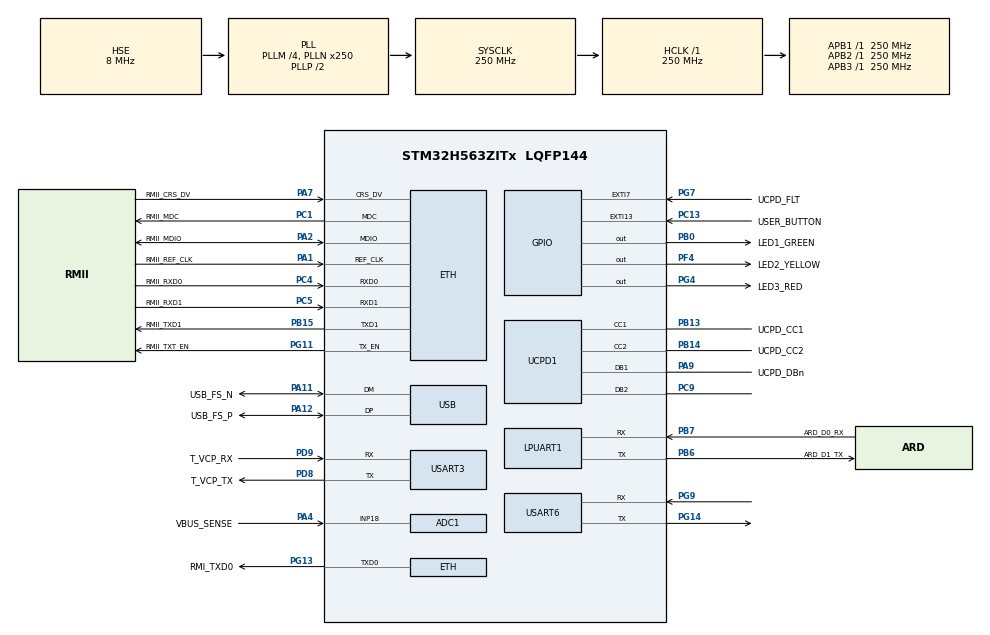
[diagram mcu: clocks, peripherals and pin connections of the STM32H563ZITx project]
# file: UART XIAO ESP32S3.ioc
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ADC1.Channel-0\#ChannelRegularConversion=ADC_CHANNEL_18
ADC1.MonitoredBy-0\#ChannelRegularConversion=__NULL
ADC1.NbrOfConversionFlag=1
ADC1.OffsetNumber-0\#ChannelRegularConversion=ADC_OFFSET_NONE
ADC1.Rank-0\#ChannelRegularConversion=1
ADC1.SamplingTime-0\#ChannelRegularConversion=ADC_SAMPLETIME_2CYCLES_5
ADC1.master=1
CORTEX_M33_NS.userName=CORTEX_M33
ETH.MediaInterface=HAL_ETH_RMII_MODE
Mcu.Family=STM32H5
Mcu.Name=STM32H563ZITx
Mcu.Package=LQFP144
NVIC.PriorityGroup=NVIC_PRIORITYGROUP_4
PA1.GPIO_Label=RMII_REF_CLK
PA1.GPIO_Mode=GPIO_MODE_AF_PP
PA1.GPIO_PuPd=GPIO_NOPULL
PA1.GPIO_Speed=GPIO_SPEED_FREQ_LOW
PA1.Mode=RMII
PA1.Signal=ETH_REF_CLK
PA11.GPIO_Label=USB_FS_N
PA11.Mode=Device
PA11.Signal=USB_DM
PA12.GPIO_Label=USB_FS_P
PA12.Mode=Device
PA12.Signal=USB_DP
PA13(JTMS/SWDIO).GPIO_Label=SWDIO
PA13(JTMS/SWDIO).Mode=Trace_Synchro_4bits_JTAG
PA13(JTMS/SWDIO).Signal=DEBUG_JTMS-SWDIO
PA14(JTCK/SWCLK).GPIO_Label=SWCLK
PA14(JTCK/SWCLK).Mode=Trace_Synchro_4bits_JTAG
PA14(JTCK/SWCLK).Signal=DEBUG_JTCK-SWCLK
PA15(JTDI).GPIO_Label=T_JTDI
PA15(JTDI).Mode=Trace_Synchro_4bits_JTAG
PA15(JTDI).Signal=DEBUG_JTDI
PA2.GPIO_Label=RMII_MDIO
PA2.GPIO_Mode=GPIO_MODE_AF_PP
PA2.GPIO_PuPd=GPIO_NOPULL
PA2.GPIO_Speed=GPIO_SPEED_FREQ_LOW
PA2.Mode=RMII
PA2.Signal=ETH_MDIO
PA4.GPIO_Label=VBUS_SENSE
PA4.Signal=ADCx_INP18
PA7.GPIO_Label=RMII_CRS_DV
PA7.GPIO_Mode=GPIO_MODE_AF_PP
PA7.GPIO_PuPd=GPIO_NOPULL
PA7.GPIO_Speed=GPIO_SPEED_FREQ_LOW
PA7.Mode=RMII
PA7.Signal=ETH_CRS_DV
PA9.GPIO_Label=UCPD_DBn
PA9.Mode=EnableDeadBattery
PA9.Signal=UCPD1_DB1
PB0.GPIO_Label=LED1_GREEN
PB0.Signal=GPIO_Output
PB13.GPIO_Label=UCPD_CC1
PB13.Mode=Source_AllSignals
PB13.Signal=UCPD1_CC1
PB14.GPIO_Label=UCPD_CC2
PB14.Mode=Source_AllSignals
PB14.Signal=UCPD1_CC2
PB15.GPIO_Label=RMII_TXD1
PB15.GPIO_Mode=GPIO_MODE_AF_PP
PB15.GPIO_PuPd=GPIO_NOPULL
PB15.GPIO_Speed=GPIO_SPEED_FREQ_LOW
PB15.Mode=RMII
PB15.Signal=ETH_TXD1
PB3(JTDO/TRACESWO).GPIO_Label=SWO
PB3(JTDO/TRACESWO).Mode=Trace_Synchro_4bits_JTAG
PB3(JTDO/TRACESWO).Signal=DEBUG_JTDO-SWO
PB6.GPIO_Label=ARD_D1_TX
PB6.Mode=Asynchronous
PB6.Signal=LPUART1_TX
PB7.GPIO_Label=ARD_D0_RX
PB7.Mode=Asynchronous
PB7.Signal=LPUART1_RX
PC1.GPIO_Label=RMII_MDC
PC1.GPIO_Mode=GPIO_MODE_AF_PP
PC1.GPIO_PuPd=GPIO_NOPULL
PC1.GPIO_Speed=GPIO_SPEED_FREQ_LOW
PC1.Mode=RMII
PC1.Signal=ETH_MDC
PC13.GPIO_Label=USER_BUTTON
PC13.Signal=GPXTI13
PC14-OSC32_IN(OSC32_IN).Mode=LSE-External-Oscillator
PC14-OSC32_IN(OSC32_IN).Signal=RCC_OSC32_IN
PC15-OSC32_OUT(OSC32_OUT).Mode=LSE-External-Oscillator
PC15-OSC32_OUT(OSC32_OUT).Signal=RCC_OSC32_OUT
PC4.GPIO_Label=RMII_RXD0
PC4.GPIO_Mode=GPIO_MODE_AF_PP
PC4.GPIO_PuPd=GPIO_NOPULL
PC4.GPIO_Speed=GPIO_SPEED_FREQ_LOW
PC4.Mode=RMII
PC4.Signal=ETH_RXD0
PC5.GPIO_Label=RMII_RXD1
PC5.GPIO_Mode=GPIO_MODE_AF_PP
PC5.GPIO_PuPd=GPIO_NOPULL
PC5.GPIO_Speed=GPIO_SPEED_FREQ_LOW
PC5.Mode=RMII
PC5.Signal=ETH_RXD1
PC9.Mode=EnableDeadBattery
PC9.Signal=UCPD1_DB2
PD8.GPIO_Label=T_VCP_TX
PD8.Mode=Asynchronous
PD8.Signal=USART3_TX
PD9.GPIO_Label=T_VCP_RX
PD9.Mode=Asynchronous
PD9.Signal=USART3_RX
PE2.GPIO_Label=TRACE_CK
PE2.Mode=Trace_Synchro_4bits_JTAG
PE2.Signal=DEBUG_TRACECLK
PE3.GPIO_Label=TRACE_D0
PE3.Mode=Trace_Synchro_4bits_JTAG
PE3.Signal=DEBUG_TRACED0
PE4.GPIO_Label=TRACE_D1
PE4.Mode=Trace_Synchro_4bits_JTAG
PE4.Signal=DEBUG_TRACED1
PE5.GPIO_Label=TRACE_D2
PE5.Mode=Trace_Synchro_4bits_JTAG
PE5.Signal=DEBUG_TRACED2
PE6.GPIO_Label=TRACE_D3
PE6.Mode=Trace_Synchro_4bits_JTAG
PE6.Signal=DEBUG_TRACED3
PF4.GPIO_Label=LED2_YELLOW
PF4.Signal=GPIO_Output
PG11.GPIO_Label=RMII_TXT_EN
PG11.GPIO_Mode=GPIO_MODE_AF_PP
PG11.GPIO_PuPd=GPIO_NOPULL
PG11.GPIO_Speed=GPIO_SPEED_FREQ_LOW
PG11.Mode=RMII
PG11.Signal=ETH_TX_EN
PG13.GPIO_Label=RMI_TXD0
PG13.GPIO_Mode=GPIO_MODE_AF_PP
PG13.GPIO_PuPd=GPIO_NOPULL
PG13.GPIO_Speed=GPIO_SPEED_FREQ_LOW
PG13.Mode=RMII
PG13.Signal=ETH_TXD0
PG14.Mode=Asynchronous
PG14.Signal=USART6_TX
PG4.GPIO_Label=LED3_RED
PG4.Signal=GPIO_Output
PG7.GPIO_Label=UCPD_FLT
PG7.Signal=GPXTI7
PG9.Mode=Asynchronous
PG9.Signal=USART6_RX
PH0-OSC_IN(PH0).Mode=HSE-DIG-External-Clock-Source
PH0-OSC_IN(PH0).Signal=RCC_OSC_IN
ProjectManager.HeapSize=0x200
ProjectManager.StackSize=0x400
ProjectManager.TargetToolchain=STM32CubeIDE
RCC.ADCFreq_Value=250000000
RCC.AHBFreq_Value=250000000
RCC.APB1Freq_Value=250000000
RCC.APB1TimFreq_Value=250000000
RCC.APB2Freq_Value=250000000
RCC.APB2TimFreq_Value=250000000
RCC.APB3Freq_Value=250000000
RCC.CSI_VALUE=4000000
RCC.CortexFreq_Value=250000000
RCC.EPOD_VALUE=8000000
RCC.HCLKFreq_Value=250000000
RCC.HSE_VALUE=8000000
RCC.HSI48_VALUE=48000000
RCC.HSIDiv=RCC_HSI_DIV1
RCC.HSI_VALUE=64000000
RCC.LSIRC_VALUE=32000
RCC.PLLM=4
RCC.PLLN=250
RCC.PLLSourceVirtual=RCC_PLL1_SOURCE_HSE
RCC.SYSCLKFreq_VALUE=250000000
RCC.SYSCLKSource=RCC_SYSCLKSOURCE_PLLCLK
RCC.USBFreq_Value=48000000
RCC.VCOOutputFreq_Value=500000000
SH.ADCx_INP18.0=ADC1_INP18,IN18-Single-Ended
USART3.OverSampling=UART_OVERSAMPLING_8
USART3.RxPinLevelInvertParam=ADVFEATURE_RXINV_ENABLE
USART3.VirtualMode=VM_ASYNC
USART6.VirtualMode=VM_ASYNC
USB.VirtualMode=Device_Only
VP_BOOTPATH_VS_BOOTPATH.Mode=BP_Activate
VP_ICACHE_VS_ICACHE.Mode=DefaultMode
VP_MEMORYMAP_VS_MEMORYMAP.Mode=CurAppReg
VP_PWR_VS_DBSignals.Mode=DisableDeadBatterySignals
VP_PWR_VS_LPOM.Mode=PowerOptimisation
VP_PWR_VS_SECSignals.Mode=Security/Privilege
board=NUCLEO-H563ZI

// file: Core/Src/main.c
/* USER CODE BEGIN Header */
/**
  ******************************************************************************
  * @file           : main.c
  * @brief          : Main program body
  ******************************************************************************
  * @attention
  *
  * Copyright (c) 2026 STMicroelectronics.
  * All rights reserved.
  *
  * This software is licensed under terms that can be found in the LICENSE file
  * in the root directory of this software component.
  * If no LICENSE file comes with this software, it is provided AS-IS.
  *
  ******************************************************************************
  */
/* USER CODE END Header */
#include "main.h"
#include "string.h"

/* USER CODE BEGIN Includes */
#include <stdio.h>
/* USER CODE END Includes */

/* USER CODE BEGIN PV */
static char uart6_tx_buffer[128];
static uint32_t uart6_sequence = 0;
/* USER CODE END PV */

ETH_TxPacketConfig TxConfig;
ETH_DMADescTypeDef  DMARxDscrTab[ETH_RX_DESC_CNT]; /* Ethernet Rx DMA Descriptors */
ETH_DMADescTypeDef  DMATxDscrTab[ETH_TX_DESC_CNT]; /* Ethernet Tx DMA Descriptors */

ADC_HandleTypeDef hadc1;

ETH_HandleTypeDef heth;

UART_HandleTypeDef hlpuart1;
UART_HandleTypeDef huart3;
UART_HandleTypeDef huart6;

PCD_HandleTypeDef hpcd_USB_DRD_FS;

void SystemClock_Config(void);
static void MX_GPIO_Init(void);
static void MX_ADC1_Init(void);
static void MX_ETH_Init(void);
static void MX_ICACHE_Init(void);
static void MX_LPUART1_UART_Init(void);
static void MX_USART3_UART_Init(void);
static void MX_UCPD1_Init(void);
static void MX_USB_PCD_Init(void);
static void MX_MEMORYMAP_Init(void);
static void MX_USART6_UART_Init(void);

int main(void)
{

  /* MCU Configuration--------------------------------------------------------*/

  /* Reset of all peripherals, Initializes the Flash interface and the Systick. */
  HAL_Init();

  /* Configure the system clock */
  SystemClock_Config();

  /* Initialize all configured peripherals */
  MX_GPIO_Init();
  MX_ADC1_Init();
  MX_ETH_Init();
  MX_ICACHE_Init();
  MX_LPUART1_UART_Init();
  MX_USART3_UART_Init();
  MX_UCPD1_Init();
  MX_USB_PCD_Init();
  MX_MEMORYMAP_Init();
  MX_USART6_UART_Init();

  /* Infinite loop */
  /* USER CODE BEGIN WHILE */
  while (1)
  {
      /*
       * Replace distance_mm with actual VL53L9CX data later.
       */
      uint16_t distance_mm = 1234;

      int length = snprintf(
          uart6_tx_buffer,
          sizeof(uart6_tx_buffer),
          "{\"sequence\":%lu,\"distance_mm\":%u}\r\n",
          (unsigned long)uart6_sequence,
          (unsigned int)distance_mm
      );

      if ((length > 0) &&
          (length < (int)sizeof(uart6_tx_buffer)))
      {
          HAL_StatusTypeDef result = HAL_UART_Transmit(
              &huart6,
              (uint8_t *)uart6_tx_buffer,
              (uint16_t)length,
              100
          );

          if (result == HAL_OK)
          {
              uart6_sequence++;
          }
      }

      HAL_Delay(1000);

      /* USER CODE END WHILE */
  }
}

void SystemClock_Config(void)
{
  RCC_OscInitTypeDef RCC_OscInitStruct = {0};
  RCC_ClkInitTypeDef RCC_ClkInitStruct = {0};

  /** Configure the main internal regulator output voltage
  */
  __HAL_PWR_VOLTAGESCALING_CONFIG(PWR_REGULATOR_VOLTAGE_SCALE0);

  while(!__HAL_PWR_GET_FLAG(PWR_FLAG_VOSRDY)) {}

  /** Initializes the RCC Oscillators according to the specified parameters
  * in the RCC_OscInitTypeDef structure.
  */
  RCC_OscInitStruct.OscillatorType = RCC_OSCILLATORTYPE_HSI48|RCC_OSCILLATORTYPE_HSI
                              |RCC_OSCILLATORTYPE_HSE;
  RCC_OscInitStruct.HSEState = RCC_HSE_BYPASS_DIGITAL;
  RCC_OscInitStruct.HSIState = RCC_HSI_ON;
  RCC_OscInitStruct.HSIDiv = RCC_HSI_DIV1;
  RCC_OscInitStruct.HSICalibrationValue = RCC_HSICALIBRATION_DEFAULT;
  RCC_OscInitStruct.HSI48State = RCC_HSI48_ON;
  RCC_OscInitStruct.PLL.PLLState = RCC_PLL_ON;
  RCC_OscInitStruct.PLL.PLLSource = RCC_PLL1_SOURCE_HSE;
  RCC_OscInitStruct.PLL.PLLM = 4;
  RCC_OscInitStruct.PLL.PLLN = 250;
  RCC_OscInitStruct.PLL.PLLP = 2;
  RCC_OscInitStruct.PLL.PLLQ = 2;
  RCC_OscInitStruct.PLL.PLLR = 2;
  RCC_OscInitStruct.PLL.PLLRGE = RCC_PLL1_VCIRANGE_1;
  RCC_OscInitStruct.PLL.PLLVCOSEL = RCC_PLL1_VCORANGE_WIDE;
  RCC_OscInitStruct.PLL.PLLFRACN = 0;
  if (HAL_RCC_OscConfig(&RCC_OscInitStruct) != HAL_OK)
  {
    Error_Handler();
  }

  /** Initializes the CPU, AHB and APB buses clocks
  */
  RCC_ClkInitStruct.ClockType = RCC_CLOCKTYPE_HCLK|RCC_CLOCKTYPE_SYSCLK
                              |RCC_CLOCKTYPE_PCLK1|RCC_CLOCKTYPE_PCLK2
                              |RCC_CLOCKTYPE_PCLK3;
  RCC_ClkInitStruct.SYSCLKSource = RCC_SYSCLKSOURCE_PLLCLK;
  RCC_ClkInitStruct.AHBCLKDivider = RCC_SYSCLK_DIV1;
  RCC_ClkInitStruct.APB1CLKDivider = RCC_HCLK_DIV1;
  RCC_ClkInitStruct.APB2CLKDivider = RCC_HCLK_DIV1;
  RCC_ClkInitStruct.APB3CLKDivider = RCC_HCLK_DIV1;

  if (HAL_RCC_ClockConfig(&RCC_ClkInitStruct, FLASH_LATENCY_5) != HAL_OK)
  {
    Error_Handler();
  }
}

static void MX_ADC1_Init(void)
{

  ADC_ChannelConfTypeDef sConfig = {0};

  /** Common config
  */
  hadc1.Instance = ADC1;
  hadc1.Init.ClockPrescaler = ADC_CLOCK_ASYNC_DIV2;
  hadc1.Init.Resolution = ADC_RESOLUTION_12B;
  hadc1.Init.DataAlign = ADC_DATAALIGN_RIGHT;
  hadc1.Init.ScanConvMode = ADC_SCAN_DISABLE;
  hadc1.Init.EOCSelection = ADC_EOC_SINGLE_CONV;
  hadc1.Init.LowPowerAutoWait = DISABLE;
  hadc1.Init.ContinuousConvMode = DISABLE;
  hadc1.Init.NbrOfConversion = 1;
  hadc1.Init.DiscontinuousConvMode = DISABLE;
  hadc1.Init.ExternalTrigConv = ADC_SOFTWARE_START;
  hadc1.Init.ExternalTrigConvEdge = ADC_EXTERNALTRIGCONVEDGE_NONE;
  hadc1.Init.DMAContinuousRequests = DISABLE;
  hadc1.Init.SamplingMode = ADC_SAMPLING_MODE_NORMAL;
  hadc1.Init.Overrun = ADC_OVR_DATA_PRESERVED;
  hadc1.Init.OversamplingMode = DISABLE;
  if (HAL_ADC_Init(&hadc1) != HAL_OK)
  {
    Error_Handler();
  }

  /** Configure Regular Channel
  */
  sConfig.Channel = ADC_CHANNEL_18;
  sConfig.Rank = ADC_REGULAR_RANK_1;
  sConfig.SamplingTime = ADC_SAMPLETIME_2CYCLES_5;
  sConfig.SingleDiff = ADC_SINGLE_ENDED;
  sConfig.OffsetNumber = ADC_OFFSET_NONE;
  sConfig.Offset = 0;
  if (HAL_ADC_ConfigChannel(&hadc1, &sConfig) != HAL_OK)
  {
    Error_Handler();
  }

}

static void MX_ETH_Init(void)
{

   static uint8_t MACAddr[6];

  heth.Instance = ETH;
  MACAddr[0] = 0x00;
  MACAddr[1] = 0x80;
  MACAddr[2] = 0xE1;
  MACAddr[3] = 0x00;
  MACAddr[4] = 0x00;
  MACAddr[5] = 0x00;
  heth.Init.MACAddr = &MACAddr[0];
  heth.Init.MediaInterface = HAL_ETH_RMII_MODE;
  heth.Init.TxDesc = DMATxDscrTab;
  heth.Init.RxDesc = DMARxDscrTab;
  heth.Init.RxBuffLen = 1524;

  if (HAL_ETH_Init(&heth) != HAL_OK)
  {
    Error_Handler();
  }

  memset(&TxConfig, 0 , sizeof(ETH_TxPacketConfig));
  TxConfig.Attributes = ETH_TX_PACKETS_FEATURES_CSUM | ETH_TX_PACKETS_FEATURES_CRCPAD;
  TxConfig.ChecksumCtrl = ETH_CHECKSUM_IPHDR_PAYLOAD_INSERT_PHDR_CALC;
  TxConfig.CRCPadCtrl = ETH_CRC_PAD_INSERT;

}

static void MX_ICACHE_Init(void)
{

  /** Enable instruction cache (default 2-ways set associative cache)
  */
  if (HAL_ICACHE_Enable() != HAL_OK)
  {
    Error_Handler();
  }

}

static void MX_LPUART1_UART_Init(void)
{

  hlpuart1.Instance = LPUART1;
  hlpuart1.Init.BaudRate = 209700;
  hlpuart1.Init.WordLength = UART_WORDLENGTH_8B;
  hlpuart1.Init.StopBits = UART_STOPBITS_1;
  hlpuart1.Init.Parity = UART_PARITY_NONE;
  hlpuart1.Init.Mode = UART_MODE_TX_RX;
  hlpuart1.Init.HwFlowCtl = UART_HWCONTROL_NONE;
  hlpuart1.Init.OneBitSampling = UART_ONE_BIT_SAMPLE_DISABLE;
  hlpuart1.AdvancedInit.AdvFeatureInit = UART_ADVFEATURE_NO_INIT;
  hlpuart1.FifoMode = UART_FIFOMODE_DISABLE;
  if (HAL_UART_Init(&hlpuart1) != HAL_OK)
  {
    Error_Handler();
  }
  if (HAL_UARTEx_SetTxFifoThreshold(&hlpuart1, UART_TXFIFO_THRESHOLD_1_8) != HAL_OK)
  {
    Error_Handler();
  }
  if (HAL_UARTEx_SetRxFifoThreshold(&hlpuart1, UART_RXFIFO_THRESHOLD_1_8) != HAL_OK)
  {
    Error_Handler();
  }
  if (HAL_UARTEx_DisableFifoMode(&hlpuart1) != HAL_OK)
  {
    Error_Handler();
  }

}

static void MX_USART3_UART_Init(void)
{

  huart3.Instance = USART3;
  huart3.Init.BaudRate = 115200;
  huart3.Init.WordLength = UART_WORDLENGTH_8B;
  huart3.Init.StopBits = UART_STOPBITS_1;
  huart3.Init.Parity = UART_PARITY_NONE;
  huart3.Init.Mode = UART_MODE_TX_RX;
  huart3.Init.HwFlowCtl = UART_HWCONTROL_NONE;
  huart3.Init.OverSampling = UART_OVERSAMPLING_8;
  huart3.Init.OneBitSampling = UART_ONE_BIT_SAMPLE_DISABLE;
  huart3.Init.ClockPrescaler = UART_PRESCALER_DIV1;
  huart3.AdvancedInit.AdvFeatureInit = UART_ADVFEATURE_RXINVERT_INIT;
  huart3.AdvancedInit.RxPinLevelInvert = UART_ADVFEATURE_RXINV_ENABLE;
  if (HAL_UART_Init(&huart3) != HAL_OK)
  {
    Error_Handler();
  }
  if (HAL_UARTEx_SetTxFifoThreshold(&huart3, UART_TXFIFO_THRESHOLD_1_8) != HAL_OK)
  {
    Error_Handler();
  }
  if (HAL_UARTEx_SetRxFifoThreshold(&huart3, UART_RXFIFO_THRESHOLD_1_8) != HAL_OK)
  {
    Error_Handler();
  }
  if (HAL_UARTEx_DisableFifoMode(&huart3) != HAL_OK)
  {
    Error_Handler();
  }

}

static void MX_USART6_UART_Init(void)
{

  huart6.Instance = USART6;
  huart6.Init.BaudRate = 115200;
  huart6.Init.WordLength = UART_WORDLENGTH_8B;
  huart6.Init.StopBits = UART_STOPBITS_1;
  huart6.Init.Parity = UART_PARITY_NONE;
  huart6.Init.Mode = UART_MODE_TX_RX;
  huart6.Init.HwFlowCtl = UART_HWCONTROL_NONE;
  huart6.Init.OverSampling = UART_OVERSAMPLING_16;
  huart6.Init.OneBitSampling = UART_ONE_BIT_SAMPLE_DISABLE;
  huart6.Init.ClockPrescaler = UART_PRESCALER_DIV1;
  huart6.AdvancedInit.AdvFeatureInit = UART_ADVFEATURE_NO_INIT;
  if (HAL_UART_Init(&huart6) != HAL_OK)
  {
    Error_Handler();
  }
  if (HAL_UARTEx_SetTxFifoThreshold(&huart6, UART_TXFIFO_THRESHOLD_1_8) != HAL_OK)
  {
    Error_Handler();
  }
  if (HAL_UARTEx_SetRxFifoThreshold(&huart6, UART_RXFIFO_THRESHOLD_1_8) != HAL_OK)
  {
    Error_Handler();
  }
  if (HAL_UARTEx_DisableFifoMode(&huart6) != HAL_OK)
  {
    Error_Handler();
  }

}

static void MX_MEMORYMAP_Init(void)
{

}

static void MX_UCPD1_Init(void)
{

  LL_GPIO_InitTypeDef GPIO_InitStruct = {0};

  /* Peripheral clock enable */
  LL_APB1_GRP2_EnableClock(LL_APB1_GRP2_PERIPH_UCPD1);

  LL_AHB2_GRP1_EnableClock(LL_AHB2_GRP1_PERIPH_GPIOB);
  /**UCPD1 GPIO Configuration
  PB13   ------> UCPD1_CC1
  PB14   ------> UCPD1_CC2
  */
  GPIO_InitStruct.Pin = LL_GPIO_PIN_13|LL_GPIO_PIN_14;
  GPIO_InitStruct.Mode = LL_GPIO_MODE_ANALOG;
  GPIO_InitStruct.Pull = LL_GPIO_PULL_NO;
  LL_GPIO_Init(GPIOB, &GPIO_InitStruct);

}

static void MX_USB_PCD_Init(void)
{

  hpcd_USB_DRD_FS.Instance = USB_DRD_FS;
  hpcd_USB_DRD_FS.Init.dev_endpoints = 8;
  hpcd_USB_DRD_FS.Init.speed = USBD_FS_SPEED;
  hpcd_USB_DRD_FS.Init.phy_itface = PCD_PHY_EMBEDDED;
  hpcd_USB_DRD_FS.Init.Sof_enable = DISABLE;
  hpcd_USB_DRD_FS.Init.low_power_enable = DISABLE;
  hpcd_USB_DRD_FS.Init.lpm_enable = DISABLE;
  hpcd_USB_DRD_FS.Init.battery_charging_enable = DISABLE;
  hpcd_USB_DRD_FS.Init.vbus_sensing_enable = DISABLE;
  hpcd_USB_DRD_FS.Init.bulk_doublebuffer_enable = DISABLE;
  hpcd_USB_DRD_FS.Init.iso_singlebuffer_enable = DISABLE;
  if (HAL_PCD_Init(&hpcd_USB_DRD_FS) != HAL_OK)
  {
    Error_Handler();
  }

}

static void MX_GPIO_Init(void)
{
  GPIO_InitTypeDef GPIO_InitStruct = {0};

  /* GPIO Ports Clock Enable */
  __HAL_RCC_GPIOE_CLK_ENABLE();
  __HAL_RCC_GPIOC_CLK_ENABLE();
  __HAL_RCC_GPIOF_CLK_ENABLE();
  __HAL_RCC_GPIOH_CLK_ENABLE();
  __HAL_RCC_GPIOA_CLK_ENABLE();
  __HAL_RCC_GPIOB_CLK_ENABLE();
  __HAL_RCC_GPIOD_CLK_ENABLE();
  __HAL_RCC_GPIOG_CLK_ENABLE();

  /*Configure GPIO pin Output Level */
  HAL_GPIO_WritePin(LED2_YELLOW_GPIO_Port, LED2_YELLOW_Pin, GPIO_PIN_RESET);

  /*Configure GPIO pin Output Level */
  HAL_GPIO_WritePin(LED1_GREEN_GPIO_Port, LED1_GREEN_Pin, GPIO_PIN_RESET);

  /*Configure GPIO pin Output Level */
  HAL_GPIO_WritePin(LED3_RED_GPIO_Port, LED3_RED_Pin, GPIO_PIN_RESET);

  /*Configure GPIO pin : USER_BUTTON_Pin */
  GPIO_InitStruct.Pin = USER_BUTTON_Pin;
  GPIO_InitStruct.Mode = GPIO_MODE_IT_RISING;
  GPIO_InitStruct.Pull = GPIO_NOPULL;
  HAL_GPIO_Init(USER_BUTTON_GPIO_Port, &GPIO_InitStruct);

  /*Configure GPIO pin : LED2_YELLOW_Pin */
  GPIO_InitStruct.Pin = LED2_YELLOW_Pin;
  GPIO_InitStruct.Mode = GPIO_MODE_OUTPUT_PP;
  GPIO_InitStruct.Pull = GPIO_NOPULL;
  GPIO_InitStruct.Speed = GPIO_SPEED_FREQ_LOW;
  HAL_GPIO_Init(LED2_YELLOW_GPIO_Port, &GPIO_InitStruct);

  /*Configure GPIO pin : LED1_GREEN_Pin */
  GPIO_InitStruct.Pin = LED1_GREEN_Pin;
  GPIO_InitStruct.Mode = GPIO_MODE_OUTPUT_PP;
  GPIO_InitStruct.Pull = GPIO_NOPULL;
  GPIO_InitStruct.Speed = GPIO_SPEED_FREQ_LOW;
  HAL_GPIO_Init(LED1_GREEN_GPIO_Port, &GPIO_InitStruct);

  /*Configure GPIO pin : LED3_RED_Pin */
  GPIO_InitStruct.Pin = LED3_RED_Pin;
  GPIO_InitStruct.Mode = GPIO_MODE_OUTPUT_PP;
  GPIO_InitStruct.Pull = GPIO_NOPULL;
  GPIO_InitStruct.Speed = GPIO_SPEED_FREQ_LOW;
  HAL_GPIO_Init(LED3_RED_GPIO_Port, &GPIO_InitStruct);

  /*Configure GPIO pin : UCPD_FLT_Pin */
  GPIO_InitStruct.Pin = UCPD_FLT_Pin;
  GPIO_InitStruct.Mode = GPIO_MODE_IT_RISING;
  GPIO_InitStruct.Pull = GPIO_NOPULL;
  HAL_GPIO_Init(UCPD_FLT_GPIO_Port, &GPIO_InitStruct);

}

void Error_Handler(void)
{
  __disable_irq();
  while (1)
  {
  }
}
